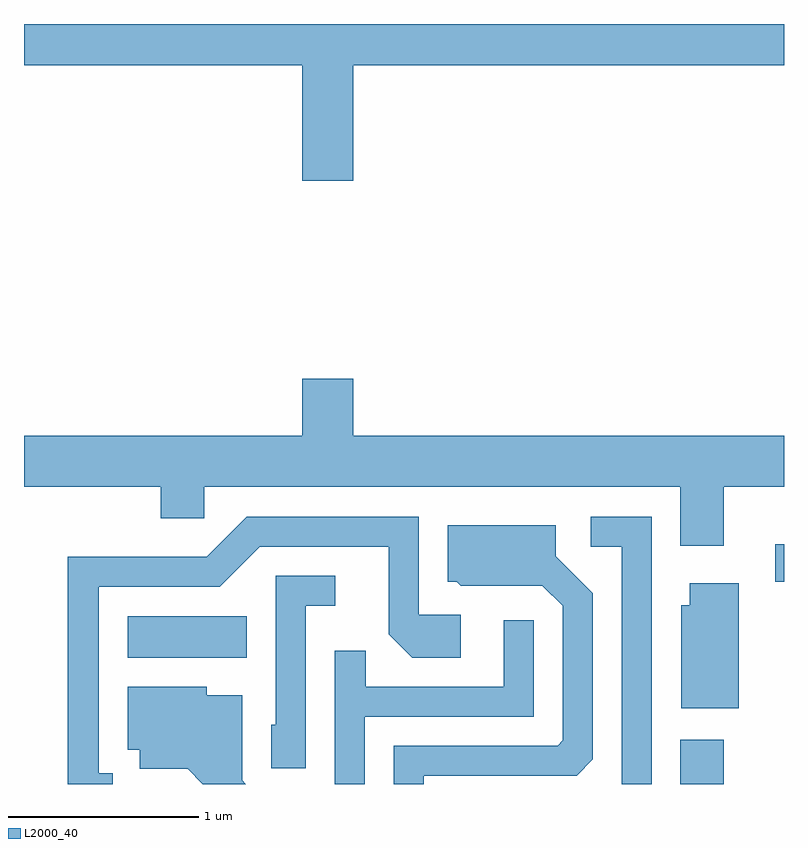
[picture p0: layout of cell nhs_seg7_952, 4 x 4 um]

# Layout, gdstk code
import gdstk
lib = gdstk.Library(unit=1e-6, precision=1e-09)
def R(c, l, rs):  # rectangles x0, y0, x1, y1
    for r in rs: c.add(gdstk.rectangle(r[:2], r[2:], *l))
def P(c, l, *ps):  # polygons
    for p in ps: c.add(gdstk.Polygon(p, *l))
L2000_40 = (2000, 40)

nhs_seg7_952 = lib.new_cell('nhs_seg7_952')
R(nhs_seg7_952, L2000_40, [(217.066,1768.252,217.294,1768.484), (214.156,1768.916,214.784,1769.134), (217.566,1769.316,217.611,1769.514)])
P(nhs_seg7_952, L2000_40, [(215.344,1772.036),(217.611,1772.036),(217.611,1772.252),(213.611,1772.252),(213.611,1772.036),(215.076,1772.036),(215.076,1771.426),(215.344,1771.426)],
  [(217.294,1769.816),(217.611,1769.816),(217.611,1770.084),(215.344,1770.084),(215.344,1770.384),(215.076,1770.384),(215.076,1770.084),(213.611,1770.084),(213.611,1769.816),(214.331,1769.816),(214.331,1769.651),(214.559,1769.651),(214.559,1769.816),(217.066,1769.816),(217.066,1769.506),(217.294,1769.506)],
  [(214.078,1768.309),(214.004,1768.309),(214.004,1769.291),(214.642,1769.291),(214.852,1769.501),(215.531,1769.501),(215.531,1769.039),(215.654,1768.916),(215.909,1768.916),(215.909,1769.144),(215.689,1769.144),(215.689,1769.659),(214.784,1769.659),(214.574,1769.449),(213.841,1769.449),(213.841,1768.252),(214.078,1768.252)],
  [(216.914,1769.659),(216.593,1769.659),(216.593,1769.501),(216.756,1769.501),(216.756,1768.252),(216.914,1768.252)],
  [(215.714,1768.296),(216.519,1768.296),(216.604,1768.382),(216.604,1769.257),(216.409,1769.452),(216.409,1769.614),(215.841,1769.614),(215.841,1769.316),(215.889,1769.316),(215.909,1769.296),(216.339,1769.296),(216.446,1769.189),(216.446,1768.482),(216.419,1768.454),(215.556,1768.454),(215.556,1768.252),(215.714,1768.252)],
  [(215.094,1769.191),(215.248,1769.191),(215.248,1769.349),(214.936,1769.349),(214.936,1768.564),(214.911,1768.564),(214.911,1768.336),(215.094,1768.336)],
  [(217.374,1769.309),(217.116,1769.309),(217.116,1769.194),(217.071,1769.194),(217.071,1768.651),(217.374,1768.651)],
  [(215.404,1768.606),(216.294,1768.606),(216.294,1769.113),(216.136,1769.113),(216.136,1768.764),(215.409,1768.764),(215.409,1768.953),(215.246,1768.953),(215.246,1768.252),(215.404,1768.252)],
  [(214.759,1768.272),(214.759,1768.719),(214.574,1768.719),(214.574,1768.764),(214.156,1768.764),(214.156,1768.431),(214.221,1768.431),(214.221,1768.331),(214.474,1768.331),(214.553,1768.252),(214.779,1768.252)])

lib.write_gds('nhs_seg7_952.gds')
